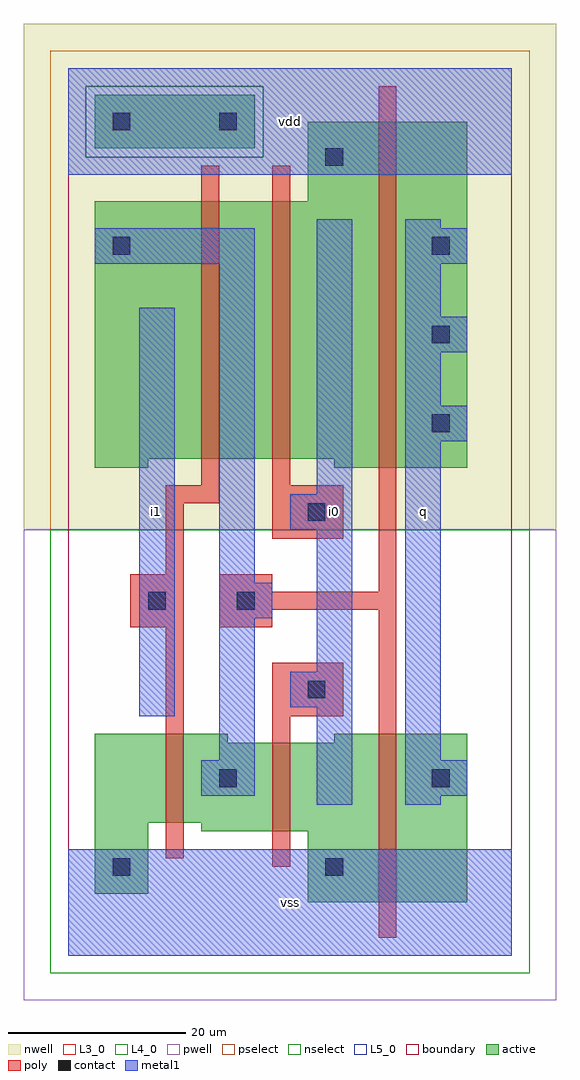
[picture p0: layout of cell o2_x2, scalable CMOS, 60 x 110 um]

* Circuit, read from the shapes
.subckt o2_x2 i0 i1 q vdd vss
M1 n1 i1 vss VSUBS nfet w=10u l=2u
M2 vss i0 n1 VSUBS nfet w=10u l=2u
M3 q n1 vss VSUBS nfet w=19u l=2u
M4 n2 i1 n1 vdd pfet w=29u l=2u
M5 vdd i0 n2 vdd pfet w=29u l=2u
M6 q n1 vdd vdd pfet w=39u l=2u
.ends

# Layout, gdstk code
import gdstk
lib = gdstk.Library(unit=1e-6, precision=1e-09)
def R(c, l, rs):  # rectangles x0, y0, x1, y1
    for r in rs: c.add(gdstk.rectangle(r[:2], r[2:], *l))
def A(c, l, x, y, w, h, nx, ny, dx, dy):  # array of equal rectangles
    R(c, l, [(x+i*dx, y+j*dy, x+i*dx+w, y+j*dy+h) for i in range(nx) for j in range(ny)])
L3_0 = (3, 0)
L4_0 = (4, 0)
L5_0 = (5, 0)
contact = (25, 0)
pwell = (41, 0)
nwell = (42, 0)
active = (43, 0)
pselect = (44, 0)
nselect = (45, 0)
poly = (46, 0)
metal1 = (49, 0)
boundary = (63, 0)

o2_x2 = lib.new_cell('o2_x2')
R(o2_x2, L3_0, [(27,6,45,14), (3,7,9,15), (15,14,45,15), (3,15,45,24), (3,24,18,25), (30,24,45,25)])
R(o2_x2, L4_0, [(3,55,9,56), (30,55,45,56), (3,56,45,85), (27,85,45,94)])
R(o2_x2, L5_0, [(3,91,21,97)])
A(o2_x2, contact, 41, 59, 2, 2, 1, 3, 0, 10)
R(o2_x2, contact, [(5,9,7,11), (29,9,31,11), (17,19,19,21), (41,19,43,21), (27,29,29,31), (9,39,11,41), (19,39,21,41), (27,49,29,51), (5,79,7,81), (29,89,31,91), (5,93,7,95), (17,93,19,95)])
R(o2_x2, pwell, [(-5,-5,55,48)])
R(o2_x2, nwell, [(-5,48,55,105)])
R(o2_x2, active, [(27,6,45,14), (3,7,9,15), (15,14,45,15), (3,15,45,24), (3,24,18,25), (30,24,45,25), (3,55,9,56), (30,55,45,56), (3,56,45,85), (27,85,45,94), (3,91,21,97)])
R(o2_x2, pselect, [(-2,48,52,90), (-2,90,2,98), (22,90,52,98), (-2,98,52,102)])
R(o2_x2, nselect, [(-2,-2,52,48), (2,90,22,98)])
R(o2_x2, poly, [(35,2,37,39), (23,10,25,27), (11,11,13,37), (23,27,31,33), (7,37,13,43), (17,37,23,39), (17,39,37,41), (17,41,23,43), (35,41,37,98), (11,43,13,51), (23,47,31,53), (11,51,17,53), (15,53,17,89), (23,53,25,89)])
A(o2_x2, metal1, 38, 58, 7, 4, 1, 3, 0, 10)
R(o2_x2, metal1, [(0,0,50,12), (28,17,32,28), (38,17,42,18), (15,18,21,22), (38,18,45,22), (17,22,21,38), (38,22,42,58), (8,27,12,73), (25,28,32,32), (28,32,32,48), (17,38,23,42), (17,42,21,78), (25,48,32,52), (28,52,32,83), (38,62,42,68), (38,72,42,78), (3,78,21,82), (38,82,42,83), (0,88,50,100)])
R(o2_x2, boundary, [(0,0,50,100)])
o2_x2.add(gdstk.Label('i1', (10,50), layer=49, texttype=0))
o2_x2.add(gdstk.Label('vss', (25,6), layer=49, texttype=0))
o2_x2.add(gdstk.Label('i0', (30,50), layer=49, texttype=0))
o2_x2.add(gdstk.Label('vdd', (25,94), layer=49, texttype=0))
o2_x2.add(gdstk.Label('q', (40,50), layer=49, texttype=0))

lib.write_gds('o2_x2.gds')
